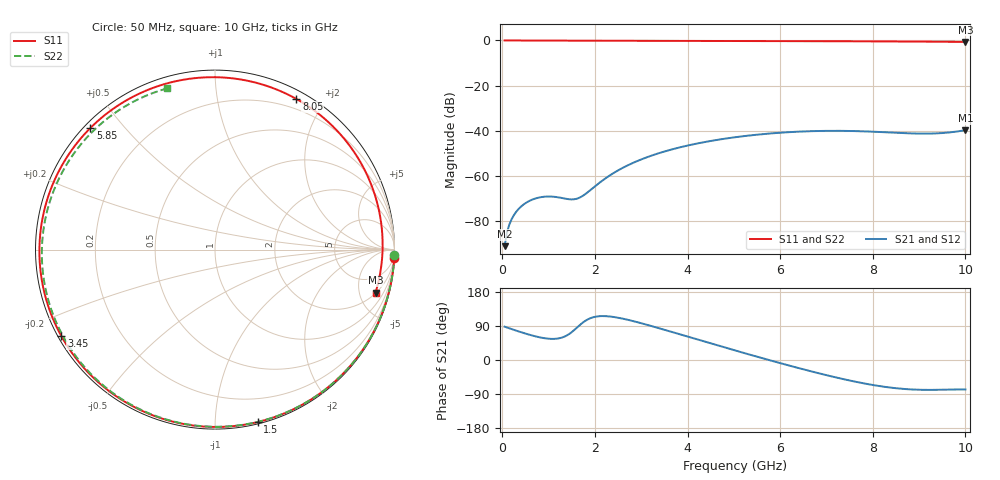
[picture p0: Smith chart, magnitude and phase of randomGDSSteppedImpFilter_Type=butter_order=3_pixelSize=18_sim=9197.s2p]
! freq	dB(S11)	phase(S11)	dB(S12)	phase(S12)
!  dB(S21)	phase(S21)	dB(S22)	phase(S22)
!S-par simulation data
#  GHz  S  DB  R 50
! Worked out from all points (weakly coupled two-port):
!   200 points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, 50 MHz to 10 GHz, reference 50 ohm
!   highest |S21| = -39.79 dB at 10 GHz (marker M1); lowest = -91.2 dB at 50 MHz (marker M2)
!   lowest |S11| = -0.7 dB at 10 GHz (marker M3), VSWR 26.05, Z = 104 - j349 ohm
!   |S11| at or under -10 dB: nowhere
!   |S22| runs from -0.6 to 0.0 dB; largest |S21 - S12| = 0
!   S11 on the Smith chart (normalised r, x): 50 MHz: 0, -42; 1.5 GHz: 0.01, -1.28; 3.45 GHz: 0.01, -0.26; 5.85 GHz: 0.02, +0.41; 8.05 GHz: 0.09, +1.67; 10 GHz: 2.07, -6.98
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0.05  -0.00 -2.7  -91.25 87.9  -91.25 87.9  -0.00 -1.6
0.2  -0.02 -10.8  -79.35 81.6  -79.35 81.6  -0.01 -6.4
0.4  -0.03 -21.5  -73.78 73.5  -73.78 73.5  -0.02 -12.7
0.7  -0.05 -37.2  -70.20 62.9  -70.20 62.9  -0.03 -22.1
1  -0.06 -52.4  -69.22 56.2  -69.22 56.2  -0.04 -31.4
1.5  -0.09 -76.1  -70.50 73.5  -70.50 73.5  -0.06 -46.5
1.75  -0.10 -87.2  -68.76 99.7  -68.76 99.7  -0.07 -53.9
2.5  -0.13 -117.4  -57.64 111.6  -57.64 111.6  -0.09 -75.2
2.95  -0.14 -133.7  -53.19 98.7  -53.19 98.7  -0.11 -87.4
3.4  -0.15 -148.9  -49.88 83.3  -49.88 83.3  -0.12 -99.1
3.45  -0.15 -150.6  -49.57 81.6  -49.57 81.6  -0.13 -100.3
4.25  -0.18 -175.8  -45.54 52.8  -45.54 52.8  -0.16 -120.0
5.05  -0.22 160.0  -42.87 24.4  -42.87 24.4  -0.20 -138.7
5.85  -0.26 135.7  -41.15 -3.2  -41.15 -3.2  -0.24 -156.7
6.7  -0.31 108.8  -40.22 -30.9  -40.22 -30.9  -0.30 -175.5
7.4  -0.36 85.1  -40.12 -51.4  -40.12 -51.4  -0.35 168.9
8.05  -0.41 61.6  -40.51 -67.0  -40.51 -67.0  -0.40 154.2
8.35  -0.44 50.4  -40.80 -72.3  -40.80 -72.3  -0.43 147.2
8.8  -0.48 33.0  -41.21 -77.5  -41.21 -77.5  -0.47 136.5
9.2  -0.53 17.1  -41.32 -78.9  -41.32 -78.9  -0.50 126.8
9.6  -0.59 1.1  -40.90 -78.2  -40.90 -78.2  -0.53 116.9
10  -0.67 -15.0  -39.79 -77.6  -39.79 -77.6  -0.57 106.6
